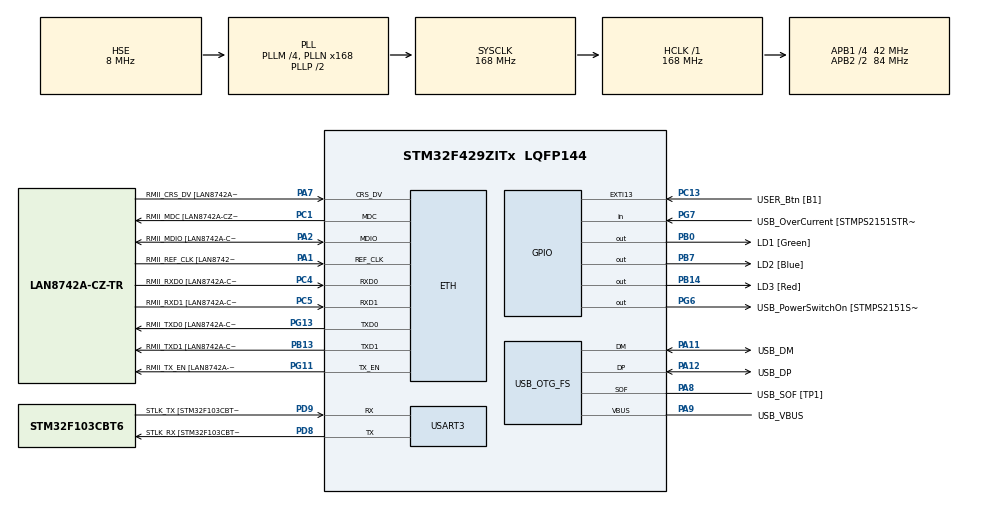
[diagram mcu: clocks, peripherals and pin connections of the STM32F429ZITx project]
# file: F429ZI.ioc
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Dma.Request0=USART3_TX
Dma.Request1=USART3_RX
Dma.USART3_RX.1.Direction=DMA_PERIPH_TO_MEMORY
Dma.USART3_RX.1.FIFOMode=DMA_FIFOMODE_DISABLE
Dma.USART3_RX.1.Instance=DMA1_Stream1
Dma.USART3_RX.1.MemDataAlignment=DMA_MDATAALIGN_BYTE
Dma.USART3_RX.1.MemInc=DMA_MINC_ENABLE
Dma.USART3_RX.1.Mode=DMA_CIRCULAR
Dma.USART3_RX.1.PeriphDataAlignment=DMA_PDATAALIGN_BYTE
Dma.USART3_RX.1.PeriphInc=DMA_PINC_DISABLE
Dma.USART3_RX.1.Priority=DMA_PRIORITY_LOW
Dma.USART3_TX.0.Direction=DMA_MEMORY_TO_PERIPH
Dma.USART3_TX.0.FIFOMode=DMA_FIFOMODE_DISABLE
Dma.USART3_TX.0.Instance=DMA1_Stream3
Dma.USART3_TX.0.MemDataAlignment=DMA_MDATAALIGN_BYTE
Dma.USART3_TX.0.MemInc=DMA_MINC_ENABLE
Dma.USART3_TX.0.Mode=DMA_CIRCULAR
Dma.USART3_TX.0.PeriphDataAlignment=DMA_PDATAALIGN_BYTE
Dma.USART3_TX.0.PeriphInc=DMA_PINC_DISABLE
Dma.USART3_TX.0.Priority=DMA_PRIORITY_LOW
ETH.MediaInterface=HAL_ETH_RMII_MODE
ETH.PHY_Name=LAN8742A_PHY_ADDRESS
ETH.PHY_Value=0
ETH.PhyAddress=0
Mcu.Family=STM32F4
Mcu.Name=STM32F429ZITx
Mcu.Package=LQFP144
NVIC.DMA1_Stream1_IRQn=true\:0\:0\:false\:false\:true\:false\:true\:true
NVIC.DMA1_Stream3_IRQn=true\:0\:0\:false\:false\:true\:false\:true\:true
NVIC.PriorityGroup=NVIC_PRIORITYGROUP_4
NVIC.USART3_IRQn=true\:0\:0\:false\:false\:true\:true\:true\:true
PA1.GPIO_Label=RMII_REF_CLK [LAN8742A-CZ-TR_REFCLK0]
PA1.Mode=RMII
PA1.Signal=ETH_REF_CLK
PA10.GPIO_Label=USB_ID
PA10.Signal=USB_OTG_FS_ID
PA11.GPIO_Label=USB_DM
PA11.Mode=Device_Only
PA11.Signal=USB_OTG_FS_DM
PA12.GPIO_Label=USB_DP
PA12.Mode=Device_Only
PA12.Signal=USB_OTG_FS_DP
PA13.GPIO_Label=TMS
PA13.Mode=Serial_Wire
PA13.Signal=SYS_JTMS-SWDIO
PA14.GPIO_Label=TCK
PA14.Mode=Serial_Wire
PA14.Signal=SYS_JTCK-SWCLK
PA2.GPIO_Label=RMII_MDIO [LAN8742A-CZ-TR_MDIO]
PA2.Mode=RMII
PA2.Signal=ETH_MDIO
PA7.GPIO_Label=RMII_CRS_DV [LAN8742A-CZ-TR_CRS_DV]
PA7.Mode=RMII
PA7.Signal=ETH_CRS_DV
PA8.GPIO_Label=USB_SOF [TP1]
PA8.Mode=Activate_SOF_FS
PA8.Signal=USB_OTG_FS_SOF
PA9.GPIO_Label=USB_VBUS
PA9.Mode=Activate_VBUS
PA9.Signal=USB_OTG_FS_VBUS
PB0.GPIO_Label=LD1 [Green]
PB0.Signal=GPIO_Output
PB13.GPIO_Label=RMII_TXD1 [LAN8742A-CZ-TR_TXD1]
PB13.Mode=RMII
PB13.Signal=ETH_TXD1
PB14.GPIO_Label=LD3 [Red]
PB14.Signal=GPIO_Output
PB7.GPIO_Label=LD2 [Blue]
PB7.Signal=GPIO_Output
PC1.GPIO_Label=RMII_MDC [LAN8742A-CZ-TR_MDC]
PC1.Mode=RMII
PC1.Signal=ETH_MDC
PC13.GPIO_Label=USER_Btn [B1]
PC13.Signal=GPXTI13
PC14/OSC32_IN.Mode=LSE-External-Oscillator
PC14/OSC32_IN.Signal=RCC_OSC32_IN
PC15/OSC32_OUT.Mode=LSE-External-Oscillator
PC15/OSC32_OUT.Signal=RCC_OSC32_OUT
PC4.GPIO_Label=RMII_RXD0 [LAN8742A-CZ-TR_RXD0]
PC4.Mode=RMII
PC4.Signal=ETH_RXD0
PC5.GPIO_Label=RMII_RXD1 [LAN8742A-CZ-TR_RXD1]
PC5.Mode=RMII
PC5.Signal=ETH_RXD1
PD8.GPIO_Label=STLK_RX [STM32F103CBT6_PA3]
PD8.Mode=Asynchronous
PD8.Signal=USART3_TX
PD9.GPIO_Label=STLK_TX [STM32F103CBT6_PA2]
PD9.Mode=Asynchronous
PD9.Signal=USART3_RX
PG11.GPIO_Label=RMII_TX_EN [LAN8742A-CZ-TR_TXEN]
PG11.Mode=RMII
PG11.Signal=ETH_TX_EN
PG13.GPIO_Label=RMII_TXD0 [LAN8742A-CZ-TR_TXD0]
PG13.Mode=RMII
PG13.Signal=ETH_TXD0
PG6.GPIO_Label=USB_PowerSwitchOn [STMPS2151STR_EN]
PG6.Signal=GPIO_Output
PG7.GPIO_Label=USB_OverCurrent [STMPS2151STR_FAULT]
PG7.Signal=GPIO_Input
PH0/OSC_IN.GPIO_Label=MCO [STM32F103CBT6_PA8]
PH0/OSC_IN.Mode=HSE-External-Clock-Source
PH0/OSC_IN.Signal=RCC_OSC_IN
PH1/OSC_OUT.Mode=HSE-External-Clock-Source
PH1/OSC_OUT.Signal=RCC_OSC_OUT
ProjectManager.HeapSize=0x200
ProjectManager.StackSize=0x400
ProjectManager.TargetToolchain=STM32CubeIDE
RCC.48MHZClocksFreq_Value=48000000
RCC.AHBFreq_Value=168000000
RCC.APB1CLKDivider=RCC_HCLK_DIV4
RCC.APB1Freq_Value=42000000
RCC.APB1TimFreq_Value=84000000
RCC.APB2CLKDivider=RCC_HCLK_DIV2
RCC.APB2Freq_Value=84000000
RCC.APB2TimCLKDivider=2
RCC.APB2TimFreq_Value=168000000
RCC.CortexFreq_Value=168000000
RCC.HCLKFreq_Value=168000000
RCC.HSE_VALUE=8000000
RCC.HSI_VALUE=16000000
RCC.PLLM=4
RCC.PLLMUL=RCC_PLL_MUL9
RCC.PLLN=168
RCC.PLLQ=7
RCC.PRESCALERUSB=RCC_USBCLKSOURCE_PLL_DIV1_5
RCC.SYSCLKFreq_VALUE=168000000
RCC.SYSCLKSource=RCC_SYSCLKSOURCE_PLLCLK
RCC.SYSCLKSourceVirtual=RCC_SYSCLKSOURCE_PLLCLK
RCC.USBFreq_Value=48000000
RCC.VCOOutputFreq_Value=336000000
USART3.VirtualMode=VM_ASYNC
USB_OTG_FS.VirtualMode=Device_Only
board=NUCLEO-F429ZI

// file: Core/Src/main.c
/* USER CODE BEGIN Header */
/**
  ******************************************************************************
  * @file           : main.c
  * @brief          : Main program body
  ******************************************************************************
  * @attention
  *
  * Copyright (c) 2024 STMicroelectronics.
  * All rights reserved.
  *
  * This software is licensed under terms that can be found in the LICENSE file
  * in the root directory of this software component.
  * If no LICENSE file comes with this software, it is provided AS-IS.
  *
  ******************************************************************************
  */
/* USER CODE END Header */
#include "main.h"
#include "string.h"
#include <stdio.h>

/* USER CODE BEGIN PD */
//#define USE_FULL_ASSERT
/* USER CODE END PD */

ETH_TxPacketConfig TxConfig;
ETH_DMADescTypeDef  DMARxDscrTab[ETH_RX_DESC_CNT]; /* Ethernet Rx DMA Descriptors */
ETH_DMADescTypeDef  DMATxDscrTab[ETH_TX_DESC_CNT]; /* Ethernet Tx DMA Descriptors */

ETH_HandleTypeDef heth;

UART_HandleTypeDef huart3;
DMA_HandleTypeDef hdma_usart3_tx;
DMA_HandleTypeDef hdma_usart3_rx;

PCD_HandleTypeDef hpcd_USB_OTG_FS;

void SystemClock_Config(void);
static void MX_GPIO_Init(void);
static void MX_DMA_Init(void);
static void MX_ETH_Init(void);
static void MX_USART3_UART_Init(void);
static void MX_USB_OTG_FS_PCD_Init(void);
/* USER CODE BEGIN PFP */
uint8_t TxData[10240];
uint8_t RxData[256];
uint8_t Final[4096];
int countloop=0;
int countinterrupt=0;
int issent=1;
int indx = 49; //'1'
//int countfull = 0;
int isSizeRxed = 0;
uint32_t size = 0;
int HTC=0;
int FTC=0;
int idx=0;
void HAL_UART_TxHalfCpltCallback(UART_HandleTypeDef *huart){
	for (uint32_t i=0;i<5120;i++){
		TxData[i] = indx;
	}
	indx++;
}

void HAL_UART_TxCpltCallback(UART_HandleTypeDef *huart){
	for (uint32_t i=5120;i<10240;i++){
		TxData[i] = indx;
	}
	indx++;
	if(indx>=60){
		HAL_UART_DMAStop(&huart3);

	}

	issent = 1;
	countinterrupt++;
}

//void HAL_UART_RxCpltCallback(UART_HandleTypeDef *huart){
//	if (isSizeRxed == 0){
//		size = ((RxData[0]-48)*1000) + ((RxData[1]-48)*100) + ((RxData[2]-48)*10) + ((RxData[2]-48));
//		isSizeExed = 1;
//		HAL_UART_Receive_DMA(&huart3, RxData, size);
//	}
//	else if (isSizeRxed == 1){
//		isSizeRxed = 0;
//		HAL_UART_Receive_DMA(&huart3, RxData, 4);
//	}
//}
void HAL_UART_RxHalfCpltCallback(UART_HandleTypeDef *huart){
		if (isSizeRxed == 0){
			size = ((RxData[0]-48)*1000) + ((RxData[1]-48)*100) + ((RxData[2]-48)*10) + ((RxData[2]-48));
			idx = 0;
			memcpy(Final+idx, RxData+4, 124);
			memset(RxData,'\0',128);
			idx+=124;
			isSizeRxed = 1;
		}
		else{
			memcpy(Final+idx, RxData, 128);
			memset(RxData, '\0', 128);
			idx+=128;
		}
		HTC=1;
		FTC=0;
}
void HAL_UART_RxCpltCallback(UART_HandleTypeDef *huart){
	memcpy(Final+idx, RxData+128, 128);
	memset(RxData+128, '\0', 128);
	idx+=128;
	HTC=0;
	FTC=1;
}
/* USER CODE END PFP */

int main(void)
{

  /* MCU Configuration--------------------------------------------------------*/

  /* Reset of all peripherals, Initializes the Flash interface and the Systick. */
  HAL_Init();

  /* Configure the system clock */
  SystemClock_Config();

  /* Initialize all configured peripherals */
  MX_GPIO_Init();
  MX_DMA_Init();
  MX_ETH_Init();
  MX_USART3_UART_Init();
  MX_USB_OTG_FS_PCD_Init();
  /* USER CODE BEGIN 2 */
//  char *str = "helloworld\n\r";
  for(uint32_t i=0;i<10240;i++){
	  if ((i!=10240-1) & (i!=10240-2))
		  TxData[i] = i&(0xff);
	  else if (i==10240-2)
		  TxData[i] = '\r';
	  else
		  TxData[i] = '\n';
  }
  HAL_UART_Transmit_DMA(&huart3, TxData, 10240);

  HAL_UART_Receive_DMA(&huart3, RxData, 256);
  /* USER CODE END 2 */

  /* Infinite loop */
  /* USER CODE BEGIN WHILE */
  while (1)
  {
	if((size-idx)>0 && (size-idx)<128){
		if(HTC==1){
			strcpy((char*)Final+idx, (char*)(RxData+128));
			idx = size;
			isSizeRxed = 0;
			HTC=0;
			HAL_UART_DMAStop(&huart3);
			HAL_UART_Transmit_DMA(&huart3, RxData, 256);
		}
		else if(FTC==1){
			strcpy((char*)Final+idx, (char*)RxData);
			idx = size;
			isSizeRxed = 0;
			FTC=0;
			HAL_UART_DMAStop(&huart3);
			HAL_UART_Transmit_DMA(&huart3, RxData, 256);
		}
	}
	else if((idx==size)&& ((HTC==1)||(FTC==1))){
			isSizeRxed = 0;
			FTC=0;
			HTC=0;
			HAL_UART_DMAStop(&huart3);
			HAL_UART_Transmit_DMA(&huart3, RxData, 256);
	}
	HAL_GPIO_TogglePin(GPIOB, GPIO_PIN_14);
	HAL_Delay(500);
	countloop++;
    /* USER CODE END WHILE */

  }
}

void SystemClock_Config(void)
{
  RCC_OscInitTypeDef RCC_OscInitStruct = {0};
  RCC_ClkInitTypeDef RCC_ClkInitStruct = {0};

  /** Configure the main internal regulator output voltage
  */
  __HAL_RCC_PWR_CLK_ENABLE();
  __HAL_PWR_VOLTAGESCALING_CONFIG(PWR_REGULATOR_VOLTAGE_SCALE1);

  /** Initializes the RCC Oscillators according to the specified parameters
  * in the RCC_OscInitTypeDef structure.
  */
  RCC_OscInitStruct.OscillatorType = RCC_OSCILLATORTYPE_HSE;
  RCC_OscInitStruct.HSEState = RCC_HSE_BYPASS;
  RCC_OscInitStruct.PLL.PLLState = RCC_PLL_ON;
  RCC_OscInitStruct.PLL.PLLSource = RCC_PLLSOURCE_HSE;
  RCC_OscInitStruct.PLL.PLLM = 4;
  RCC_OscInitStruct.PLL.PLLN = 168;
  RCC_OscInitStruct.PLL.PLLP = RCC_PLLP_DIV2;
  RCC_OscInitStruct.PLL.PLLQ = 7;
  if (HAL_RCC_OscConfig(&RCC_OscInitStruct) != HAL_OK)
  {
    Error_Handler();
  }

  /** Initializes the CPU, AHB and APB buses clocks
  */
  RCC_ClkInitStruct.ClockType = RCC_CLOCKTYPE_HCLK|RCC_CLOCKTYPE_SYSCLK
                              |RCC_CLOCKTYPE_PCLK1|RCC_CLOCKTYPE_PCLK2;
  RCC_ClkInitStruct.SYSCLKSource = RCC_SYSCLKSOURCE_PLLCLK;
  RCC_ClkInitStruct.AHBCLKDivider = RCC_SYSCLK_DIV1;
  RCC_ClkInitStruct.APB1CLKDivider = RCC_HCLK_DIV4;
  RCC_ClkInitStruct.APB2CLKDivider = RCC_HCLK_DIV2;

  if (HAL_RCC_ClockConfig(&RCC_ClkInitStruct, FLASH_LATENCY_5) != HAL_OK)
  {
    Error_Handler();
  }
}

static void MX_ETH_Init(void)
{

   static uint8_t MACAddr[6];

  heth.Instance = ETH;
  MACAddr[0] = 0x00;
  MACAddr[1] = 0x80;
  MACAddr[2] = 0xE1;
  MACAddr[3] = 0x00;
  MACAddr[4] = 0x00;
  MACAddr[5] = 0x00;
  heth.Init.MACAddr = &MACAddr[0];
  heth.Init.MediaInterface = HAL_ETH_RMII_MODE;
  heth.Init.TxDesc = DMATxDscrTab;
  heth.Init.RxDesc = DMARxDscrTab;
  heth.Init.RxBuffLen = 1524;

  if (HAL_ETH_Init(&heth) != HAL_OK)
  {
    Error_Handler();
  }

  memset(&TxConfig, 0 , sizeof(ETH_TxPacketConfig));
  TxConfig.Attributes = ETH_TX_PACKETS_FEATURES_CSUM | ETH_TX_PACKETS_FEATURES_CRCPAD;
  TxConfig.ChecksumCtrl = ETH_CHECKSUM_IPHDR_PAYLOAD_INSERT_PHDR_CALC;
  TxConfig.CRCPadCtrl = ETH_CRC_PAD_INSERT;

}

static void MX_USART3_UART_Init(void)
{

  huart3.Instance = USART3;
  huart3.Init.BaudRate = 115200;
  huart3.Init.WordLength = UART_WORDLENGTH_8B;
  huart3.Init.StopBits = UART_STOPBITS_1;
  huart3.Init.Parity = UART_PARITY_NONE;
  huart3.Init.Mode = UART_MODE_TX_RX;
  huart3.Init.HwFlowCtl = UART_HWCONTROL_NONE;
  huart3.Init.OverSampling = UART_OVERSAMPLING_16;
  if (HAL_UART_Init(&huart3) != HAL_OK)
  {
    Error_Handler();
  }

}

static void MX_USB_OTG_FS_PCD_Init(void)
{

  hpcd_USB_OTG_FS.Instance = USB_OTG_FS;
  hpcd_USB_OTG_FS.Init.dev_endpoints = 4;
  hpcd_USB_OTG_FS.Init.speed = PCD_SPEED_FULL;
  hpcd_USB_OTG_FS.Init.dma_enable = DISABLE;
  hpcd_USB_OTG_FS.Init.phy_itface = PCD_PHY_EMBEDDED;
  hpcd_USB_OTG_FS.Init.Sof_enable = ENABLE;
  hpcd_USB_OTG_FS.Init.low_power_enable = DISABLE;
  hpcd_USB_OTG_FS.Init.lpm_enable = DISABLE;
  hpcd_USB_OTG_FS.Init.vbus_sensing_enable = ENABLE;
  hpcd_USB_OTG_FS.Init.use_dedicated_ep1 = DISABLE;
  if (HAL_PCD_Init(&hpcd_USB_OTG_FS) != HAL_OK)
  {
    Error_Handler();
  }

}

static void MX_DMA_Init(void)
{

  /* DMA controller clock enable */
  __HAL_RCC_DMA1_CLK_ENABLE();

  /* DMA interrupt init */
  /* DMA1_Stream1_IRQn interrupt configuration */
  HAL_NVIC_SetPriority(DMA1_Stream1_IRQn, 0, 0);
  HAL_NVIC_EnableIRQ(DMA1_Stream1_IRQn);
  /* DMA1_Stream3_IRQn interrupt configuration */
  HAL_NVIC_SetPriority(DMA1_Stream3_IRQn, 0, 0);
  HAL_NVIC_EnableIRQ(DMA1_Stream3_IRQn);

}

static void MX_GPIO_Init(void)
{
  GPIO_InitTypeDef GPIO_InitStruct = {0};

  /* GPIO Ports Clock Enable */
  __HAL_RCC_GPIOC_CLK_ENABLE();
  __HAL_RCC_GPIOH_CLK_ENABLE();
  __HAL_RCC_GPIOA_CLK_ENABLE();
  __HAL_RCC_GPIOB_CLK_ENABLE();
  __HAL_RCC_GPIOD_CLK_ENABLE();
  __HAL_RCC_GPIOG_CLK_ENABLE();

  /*Configure GPIO pin Output Level */
  HAL_GPIO_WritePin(GPIOB, LD1_Pin|LD3_Pin|LD2_Pin, GPIO_PIN_RESET);

  /*Configure GPIO pin Output Level */
  HAL_GPIO_WritePin(USB_PowerSwitchOn_GPIO_Port, USB_PowerSwitchOn_Pin, GPIO_PIN_RESET);

  /*Configure GPIO pin : USER_Btn_Pin */
  GPIO_InitStruct.Pin = USER_Btn_Pin;
  GPIO_InitStruct.Mode = GPIO_MODE_IT_RISING;
  GPIO_InitStruct.Pull = GPIO_NOPULL;
  HAL_GPIO_Init(USER_Btn_GPIO_Port, &GPIO_InitStruct);

  /*Configure GPIO pins : LD1_Pin LD3_Pin LD2_Pin */
  GPIO_InitStruct.Pin = LD1_Pin|LD3_Pin|LD2_Pin;
  GPIO_InitStruct.Mode = GPIO_MODE_OUTPUT_PP;
  GPIO_InitStruct.Pull = GPIO_NOPULL;
  GPIO_InitStruct.Speed = GPIO_SPEED_FREQ_LOW;
  HAL_GPIO_Init(GPIOB, &GPIO_InitStruct);

  /*Configure GPIO pin : USB_PowerSwitchOn_Pin */
  GPIO_InitStruct.Pin = USB_PowerSwitchOn_Pin;
  GPIO_InitStruct.Mode = GPIO_MODE_OUTPUT_PP;
  GPIO_InitStruct.Pull = GPIO_NOPULL;
  GPIO_InitStruct.Speed = GPIO_SPEED_FREQ_LOW;
  HAL_GPIO_Init(USB_PowerSwitchOn_GPIO_Port, &GPIO_InitStruct);

  /*Configure GPIO pin : USB_OverCurrent_Pin */
  GPIO_InitStruct.Pin = USB_OverCurrent_Pin;
  GPIO_InitStruct.Mode = GPIO_MODE_INPUT;
  GPIO_InitStruct.Pull = GPIO_NOPULL;
  HAL_GPIO_Init(USB_OverCurrent_GPIO_Port, &GPIO_InitStruct);

}

/* USER CODE BEGIN 4 */
int _write(int file, char *ptr, int len)
{
//  (void)file;
  int DataIdx;

  for (DataIdx = 0; DataIdx < len; DataIdx++)
  {
    ITM_SendChar(*ptr++);
  }
  return len;
}
/* USER CODE END 4 */

void Error_Handler(void)
{
  __disable_irq();
  while (1)
  {
  }
}
